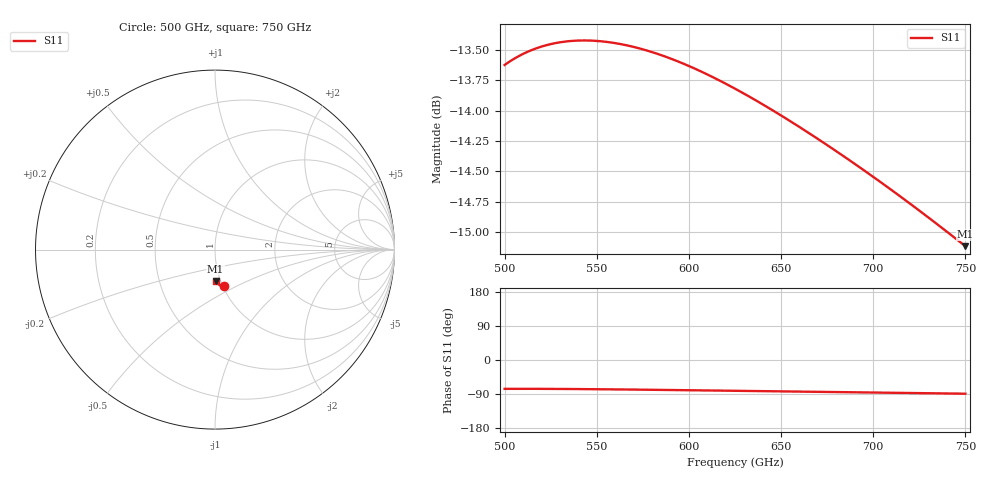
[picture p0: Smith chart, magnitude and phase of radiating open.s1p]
!Created with mwavepy.
# GHz S RI R 50.0
!freq	ReS11	ImS11
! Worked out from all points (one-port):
!   201 points, 500 GHz to 750 GHz, reference 50 ohm
!   lowest |S11| = -15.1 dB at 750 GHz (marker M1), VSWR 1.43, Z = 47.3 - j17.1 ohm
!   |S11| at or under -10 dB: start of sweep to end of sweep
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500  0.0498 -0.2023
! Port Impedance 50.00000000000000 0.00000000000000
503.75  0.0503 -0.2031
507.5  0.0506 -0.2039
511.25  0.0508 -0.2045
515  0.0509 -0.2051
522.5  0.0507 -0.2061
526.25  0.0505 -0.2065
531.25  0.0501 -0.207
538.75  0.0493 -0.2074
546.25  0.0482 -0.2077
553.75  0.047 -0.2078
562.5  0.0454 -0.2076
570  0.0439 -0.2074
577.5  0.0423 -0.2069
585  0.0406 -0.2063
593.75  0.0386 -0.2055
601.25  0.0368 -0.2047
608.75  0.035 -0.2037
616.25  0.0331 -0.2027
625  0.0309 -0.2014
640  0.0272 -0.1989
656.25  0.0232 -0.1959
671.25  0.0196 -0.193
687.5  0.0159 -0.1896
703.75  0.0124 -0.1861
718.75  0.00936 -0.1828
733.75  0.00637 -0.1793
750  0.00326 -0.1755
